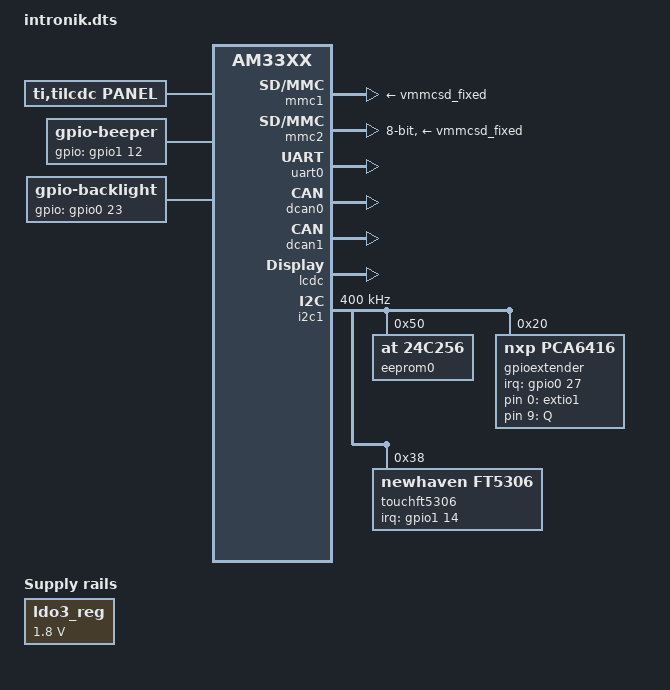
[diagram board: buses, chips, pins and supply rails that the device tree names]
/*
 * Copyright (C) 2014 Intronik GmbH
 *
 * Hardware specification for Intronik CANcom module.
 * V0.2 - 2014-10-14
 */
/dts-v1/;

#include "am33xx.dtsi"
#include "am335x-bone-common.dtsi"
#include "am335x-bone-common-pinmux.dtsi"
#include <dt-bindings/interrupt-controller/irq.h>
#include <dt-bindings/input/input.h>

&ldo3_reg {
	regulator-min-microvolt = <1800000>;
	regulator-max-microvolt = <1800000>;
	regulator-always-on;
};

&am33xx_pinmux {
	pinctrl-names = "default";
	pinctrl-0 = <&clkout2_pin>;
	
	dcan0_pins: dcan0_pins_s0 {
		pinctrl-single,pins = <
			0x178 0x12  /* P9.20: d_can0_tx, SLEWCTRL_FAST | INPUT_PULLUP | MODE2 */
			0x17C 0x32  /* P9.19: d_can0_rx, SLEWCTRL_FAST | RECV_ENABLE | INPUT_PULLUP | MODE2 */
		>;
	};

	dcan1_pins: dcan1_pins_s0 {
		pinctrl-single,pins = <
			0x180 0x12  /* P9.26: d_can1_tx, SLEWCTRL_FAST | INPUT_PULLUP | MODE2 */
			0x184 0x32  /* P9.24: d_can1_rx, SLEWCTRL_FAST | RECV_ENABLE | INPUT_PULLUP | MODE2 */
		>;
	};

	lcd_backlight_pins: lcd_backlight_pins_s0 {
		pinctrl-single,pins = <
			0x024 (PIN_OUTPUT | MUX_MODE7) /* P8.13: GPIO0[23] */
		>;
	};
	
	lcd_enable_pins: lcd_enable_pins_s0 {
		pinctrl-single,pins = <
			0x028 (PIN_OUTPUT | MUX_MODE7) /* P8.14: GPIO0[26] */
		>;
	};
	
	edt_ft5x06_pins: edt_ft5x06_pins_s0 {
		pinctrl-single,pins = <
			0x038 (PIN_INPUT_PULLUP | MUX_MODE7 )  /* P8.16: GPIO1[14] */
		>;
	};

	beeper_pins: beeper_pins_s0 {
		pinctrl-signgle,pins = <
			0x030 (PIN_OUTPUT | MUX_MODE7) /* P8.12: GPIO1[12] */
		>;
	};

	/* interruptquelle fuer gpio-expander */
	gpioextender_irq_pin: gpioextender_irq_pin_s0 {
		pinctrl-single,pins = <
			0x02C (PIN_INPUT | MUX_MODE7 )  /* P8.17: GPIO0[27] */
		>;
	};
};

/* sd-card */
&mmc1 {
	vmmc-supply = <&vmmcsd_fixed>;
};

/* emmc */
&mmc2 {
	vmmc-supply = <&vmmcsd_fixed>;
	pinctrl-names = "default";
	pinctrl-0 = <&emmc_pins>;
	bus-width = <8>;
	status = "okay";
};

/* uart0: X5.3 (J1.4), X5.1 (J1.5) */
&uart0 {
	pinctrl-names = "default";
	pinctrl-0 = <&uart0_pins>;
	status = "okay";
};

/* uart2: X1.15 (P9.22), X1.16 (P9.21) 
&uart2 {
	pinctrl-names = "default";
	pinctrl-0 = <&uart2_pins>;
	status = "okay";
}; */

/* uart4: X4.3 (P9.11), X4.1 (P9.13) 
&uart4 {
	pinctrl-names = "default";
	pinctrl-0 = <&uart4_pins>;
	status = "okay";
};*/

/* can0: X2 */
&dcan0 {
	 #address-cells = <1>;
	 #size-cells = <0>;
	 status = "okay";
	 pinctrl-names = "default";
	 pinctrl-0 = <&dcan0_pins>;
};

/* can1: X3 */
&dcan1 {
	 #address-cells = <1>;
	 #size-cells = <0>;
	 status = "okay";
	 pinctrl-names = "default";
	 pinctrl-0 = <&dcan1_pins>;
};

&lcdc {
	status = "okay";
};

/ {
	my_gpio {
		compatible = "gpio-of-helper";
		status = "okay";

		expander_input {
			gpio-name = "ioexpander-event";
			gpio = <&gpio0 27 GPIO_ACTIVE_LOW>;
			input;
		};

		touch_interrupt {
			gpio-name = "touch-event";
			gpio = <&gpio1 14 GPIO_ACTIVE_LOW>;
			input;
		};

		lcd_enable {
			gpio-name = "lcd-enable";
			gpio = <&gpio0 26 GPIO_ACTIVE_HIGH>;
			output;
			init-high;
		};
	};
};

&i2c1 {
	pinctrl-names = "default";
	pinctrl-0 = <&i2c1_pins>;
	status = "okay";
	clock-frequency = <400000>;
	
	eeprom0: eeprom0@50 {
		compatible = "at,24c256";
		reg = <0x50>;
	};
	
	gpioextender: gpio@20 {
		compatible = "nxp,pca6416";
		pinctrl-names = "default";
		pinctrl-0 = <&gpioextender_irq_pin>;
		reg = <0x20>;
		gpio-controller;
		#gpio-cells = <2>;
		interrupt-parent = <&gpio0>;
		interrupts = <27 IRQ_TYPE_EDGE_FALLING>;
		interrupt-controller;
		#interrupt-cells = <2>;
	};

	touchft5306: nh-ft5306@38 {
		compatible = "newhaven,ft5306";
		reg = <0x38>;
		//touch-gpio = <&gpio1 14 GPIO_ACTIVE_LOW>;
		interrupt-parent = <&gpio1>;
		interrupts = <14 IRQ_TYPE_EDGE_FALLING>;
	};	

};

&i2c2 {
	status = "disable";
};

/ {
	cpus {
		cpu@0 {
			cpu0-supply = <&dcdc2_reg>;
			/*
			 * To consider voltage drop between PMIC and SoC,
			 * tolerance value is reduced to 2% from 4% and
			 * voltage value is increased as a precaution.
			 */
			operating-points = <
				/* kHz    uV */
				1000000	1325000
				800000	1300000
				600000	1112000
				300000	969000
			>;
		};
	};

	panel {
		status = "okay";
		compatible = "ti,tilcdc,panel";
		pinctrl-names = "default";
		pinctrl-0 = <&bbcape_lcd_pins &lcd_enable_pins>;
		panel-info {
			ac-bias           = <255>;
			ac-bias-intrpt    = <0>;
			dma-burst-sz      = <16>;
			bpp               = <16>;
			fdd               = <0x80>;
			sync-edge         = <1>;
			sync-ctrl         = <1>;
			raster-order      = <0>;
			fifo-th           = <8>;
		};
		display-timings {
			native-mode = <&NHD50timing>;
			/* Settings for NEWHAVEN NHD5.0-800480TF-ATXI#-CTP */
			NHD50timing: 800x480 {
				clock-frequency = <30000000>;
				hactive = <800>;
				vactive = <480>;
				hfront-porch = <40>;
				hback-porch = <40>;
				hsync-len = <48>;
				vback-porch = <30>;
				vfront-porch = <13>;
				vsync-len = <3>;
				hsync-active = <0>;
				vsync-active = <0>;
				de-active = <1>;
				pixelclk-active = <0>;
			};
		};
	};

	beeper: beeper {
		status = "okay";
		compatible = "gpio-beeper";
		gpios = <&gpio1 12 GPIO_ACTIVE_HIGH>;
		pinctrl-names = "default";
		pinctrl-0 = <&beeper_pins>;
	};
	
	backlight: backlight {
		status = "okay";
		compatible = "gpio-backlight";
		pintctrl-names = "default";
		pinctrl-0 = <&lcd_backlight_pins>;
		gpios = <&gpio0 23 GPIO_ACTIVE_HIGH>;
		default-on;
	};

	extios {
		status = "okay";
		compatible = "gpio-leds";
		extio@0 {
			label = "extio1";
			gpios = <&gpioextender 0 GPIO_ACTIVE_HIGH>;
			linux,default-trigger = "heartbeat";
			default-state = "off";
		};
	};

	gpio_key_init {
		compatible = "gpio-keys";
		//pinctrl-names = "default";
		//pinctrl-0 = <&gpioextender_irq_pin>;
		#adress-cells = <1>;
		#size-cells = <0>;
		buttonQ@1 {
			debounce_interval = <50>;
			linux,code = <KEY_Q>;
			label = "Q";
			gpios = <&gpioextender 9 GPIO_ACTIVE_HIGH>;
			gpio-key,wakeup;
			autorepeat;
		};
	};
};
